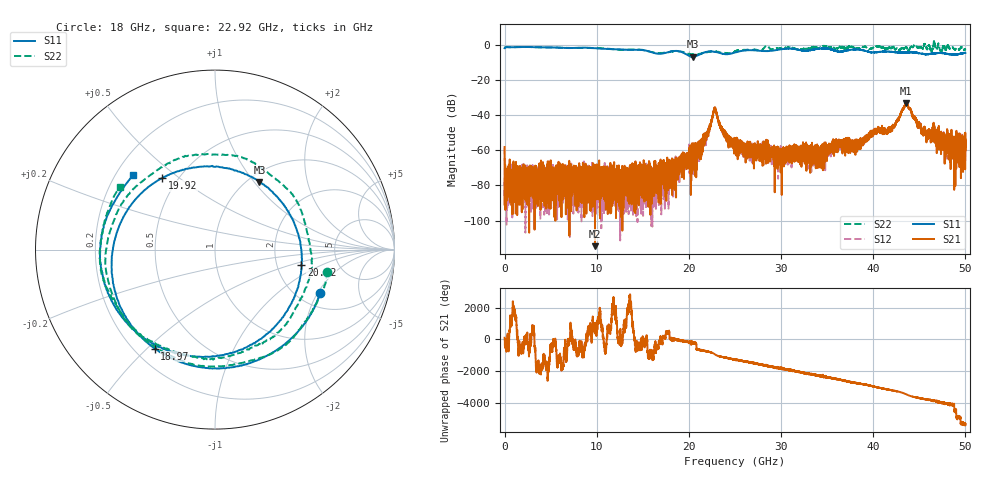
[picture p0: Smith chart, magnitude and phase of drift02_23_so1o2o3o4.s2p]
!Created with skrf (http://scikit-rf.org).
# Hz S RI R 50.0
!freq ReS11 ImS11 ReS21 ImS21 ReS12 ImS12 ReS22 ImS22
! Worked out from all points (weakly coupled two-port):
!   10001 points, 300 kHz to 50 GHz, reference 50 ohm
!   highest |S21| = -33.14 dB at 43.56 GHz (marker M1); lowest = -114.5 dB at 9.805 GHz (marker M2)
!   lowest |S11| = -6.9 dB at 20.42 GHz (marker M3), VSWR 2.64, Z = 56.3 + j53.1 ohm
!   |S11| at or under -10 dB: nowhere
!   |S22| runs from -5.7 to 2.4 dB; largest |S21 - S12| = 0.0035
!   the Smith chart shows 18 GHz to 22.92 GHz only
!   S11 on the Smith chart (normalised r, x): 18 GHz: 2.61, -2.10; 18.97 GHz: 0.28, -0.53; 19.92 GHz: 0.41, +0.43; 20.92 GHz: 2.75, -0.62; 22.92 GHz: 0.27, +0.36
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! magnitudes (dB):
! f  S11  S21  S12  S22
! 300 kHz  -2.1  -58.2  -58.5  -2.1
! 255.3 MHz  -1.4  -80.4  -73.7  -1.4
! 8.335 GHz  -1.7  -71.2  -84.2  -1.9
! 9.805 GHz  -2.0  -114.5  -72.9  -2.0
! 16.67 GHz  -5.2  -81.3  -73.2  -4.7
! 18 GHz  -4.0  -71.3  -69.1  -4.0
! 18.97 GHz  -3.8  -68.5  -68.5  -3.9
! 19.92 GHz  -6.1  -64.0  -64.3  -5.2
! 20.42 GHz  -6.9  -60.1  -60.4  -5.4
! 20.92 GHz  -6.2  -58.5  -60.0  -5.7
! 22.92 GHz  -4.2  -36.9  -37.0  -4.0
! 23.8 GHz  -5.4  -49.9  -50.7  -4.7
! 25 GHz  -4.5  -58.3  -55.9  -3.9
! 29.86 GHz  -2.8  -63.1  -63.7  -2.0
! 33.34 GHz  -3.0  -60.7  -60.4  -1.5
! 38.06 GHz  -2.7  -56.2  -57.3  -2.2
! 40.34 GHz  -4.3  -48.8  -48.5  -0.9
! 41.67 GHz  -4.0  -48.5  -47.7  -1.8
! 43.56 GHz  -4.6  -33.1  -33.2  -1.3
! 45.63 GHz  -5.3  -47.7  -48.3  0.1
! 48.8 GHz  -5.7  -57.2  -58.7  -2.5
! 50 GHz  -4.7  -54.0  -64.5  -2.7
